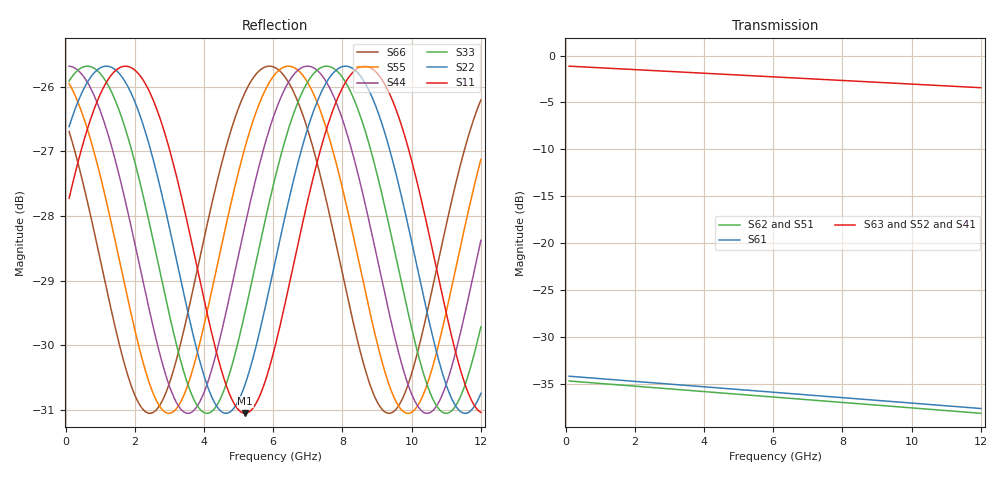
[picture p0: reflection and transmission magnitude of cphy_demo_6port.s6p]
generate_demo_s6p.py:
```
"""Generate a deterministic six-port C-PHY-like demo Touchstone file."""
from pathlib import Path

import numpy as np
import skrf as rf


def build_demo() -> rf.Network:
    frequency = rf.Frequency.from_f(np.linspace(0.1, 12.0, 401), unit="ghz")
    f = frequency.f
    s = np.zeros((f.size, 6, 6), dtype=complex)
    for port in range(6):
        reflection = 0.04 + 0.012 * np.sin(f / 1.1e9 + port * 0.5)
        s[:, port, port] = reflection * np.exp(-1j * 2 * np.pi * f * (45e-12 + port * 2e-12))
    transmission = 0.88 * np.exp(-f / 45e9) * np.exp(-1j * 2 * np.pi * f * 310e-12)
    for wire in range(3):
        s[:, wire + 3, wire] = transmission
        s[:, wire, wire + 3] = transmission
    coupling = 0.014 * np.exp(-f / 30e9) * np.exp(-1j * 2 * np.pi * f * 260e-12)
    for response in range(6):
        for stimulus in range(6):
            if response != stimulus and np.all(s[:, response, stimulus] == 0):
                s[:, response, stimulus] = coupling * (1 + 0.08 * (response - stimulus))
    return rf.Network(frequency=frequency, s=s, z0=50, name="cphy_demo_6port")


if __name__ == "__main__":
    output = Path(__file__).resolve().parent
    build_demo().write_touchstone(dir=output, form="ri")
    print(output / "cphy_demo_6port.s6p")
```
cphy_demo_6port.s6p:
! Created with skrf (http://scikit-rf.org).
# GHz S RI R 50.0
!freq ReS11 ImS11 ReS12 ImS12 ReS13 ImS13
! ReS14 ImS14 ReS15 ImS15 ReS16 ImS16
! ReS21 ImS21 ReS22 ImS22 ReS23 ImS23
! ReS24 ImS24 ReS25 ImS25 ReS26 ImS26
! ReS31 ImS31 ReS32 ImS32 ReS33 ImS33
! ReS34 ImS34 ReS35 ImS35 ReS36 ImS36
! ReS41 ImS41 ReS42 ImS42 ReS43 ImS43
! ReS44 ImS44 ReS45 ImS45 ReS46 ImS46
! ReS51 ImS51 ReS52 ImS52 ReS53 ImS53
! ReS54 ImS54 ReS55 ImS55 ReS56 ImS56
! ReS61 ImS61 ReS62 ImS62 ReS63 ImS63
! ReS64 ImS64 ReS65 ImS65 ReS66 ImS66
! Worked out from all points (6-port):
!   401 points, 100 MHz to 12 GHz, reference 50 ohm
!   strongest paths, dB at 100 MHz, 3.075 GHz, 6.05 GHz, 9.025 GHz, 12 GHz:
!     S63: -1.1, -1.7, -2.3, -2.9, -3.4
!     S52: -1.1, -1.7, -2.3, -2.9, -3.4
!     S41: -1.1, -1.7, -2.3, -2.9, -3.4
!     S61: -34.2, -35.0, -35.9, -36.8, -37.6
!     S62: -34.7, -35.6, -36.4, -37.3, -38.1
!     S51: -34.7, -35.6, -36.4, -37.3, -38.1
!   lowest |S11| = -31.1 dB at 5.187 GHz (marker M1), VSWR 1.06, Z = 50.2 - j2.8 ohm
!   |S11| at or under -10 dB: start of sweep to end of sweep
